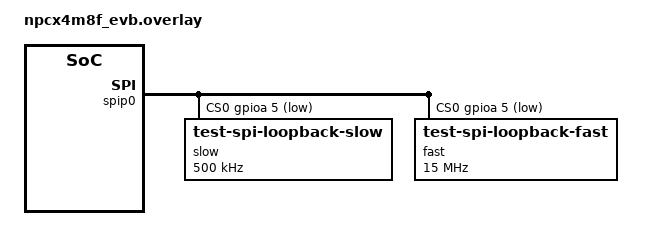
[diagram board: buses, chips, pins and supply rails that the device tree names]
/* SPDX-License-Identifier: Apache-2.0 */

&spip0 {
	status = "okay";
	pinctrl-0 = <&spip_sclk_mosi_miso_gp95_gpa1_gpa3_gpa5_sl
		     &spip_sclk_mosi_miso_gp95_gpa1_gpa3_gpa5_no_spip_inv>;
	pinctrl-names = "default";

	cs-gpios = <&gpioa 5 GPIO_ACTIVE_LOW>;

	slow@0 {
		compatible = "test-spi-loopback-slow";
		reg = <0>;
		spi-max-frequency = <500000>;
	};
	fast@0 {
		compatible = "test-spi-loopback-fast";
		reg = <0>;
		spi-max-frequency = <15000000>;
	};
};
